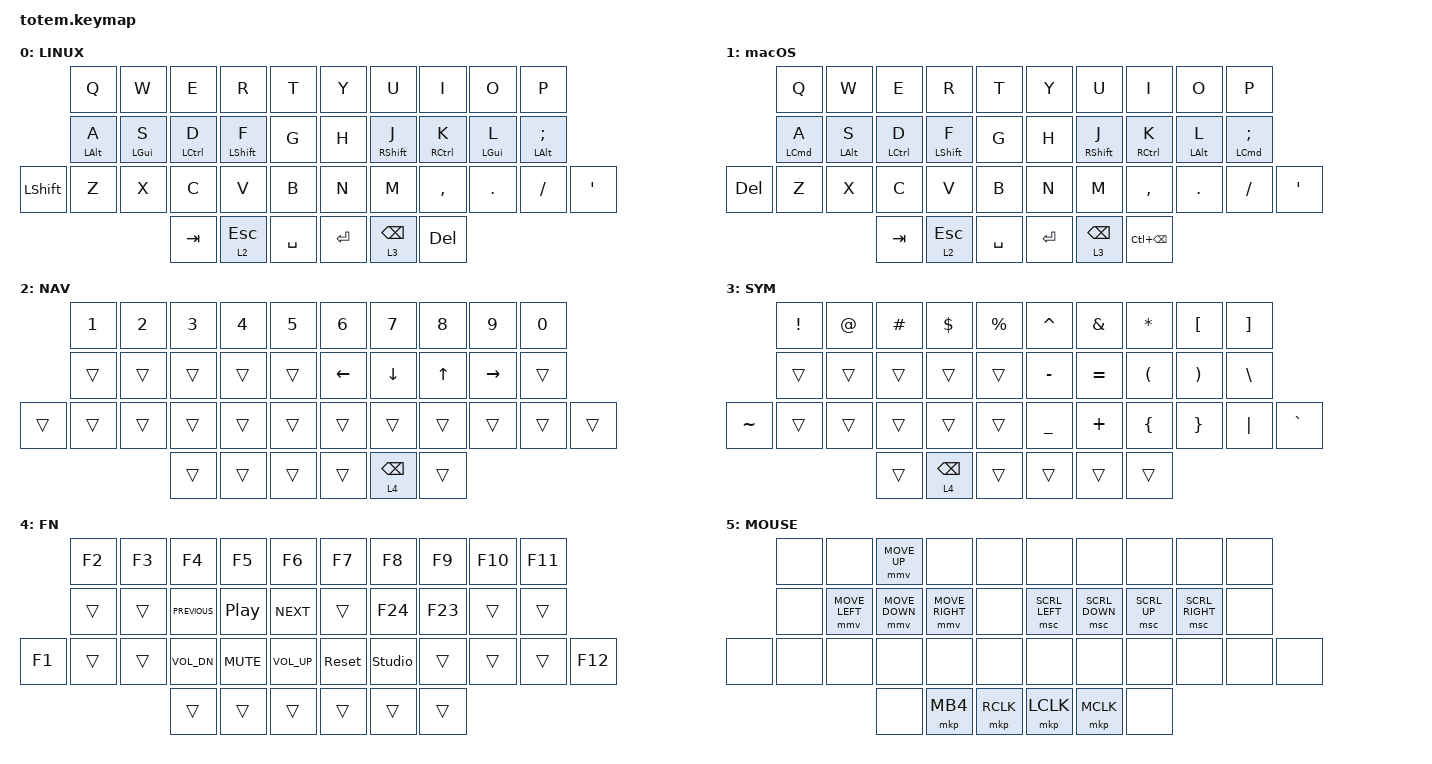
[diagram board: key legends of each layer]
//
//                                                        ▀▀▀▀▀     ▀▀▀▀▀          ▀▀█▀▀
//                                                        ▄▀▀▀▄  ▄  ▄▀▀▀▄  ▄  ▄▀▀▀▄  █  ▄▀▀▀▄
//                                                        █   █  █  █   █  █  █   █  █  █   █
//                                                         ▀▀▀   █   ▀▀▀   █   ▀▀▀   ▀   ▀▀▀
//                                                               █      ▄▄▄█▄▄▄    █   █  
//                                                               ▀      █  █  █     █▄█
//                                                             ▀▀▀▀▀    █  █  █      ▀
//                                                                      ▀  ▀  ▀
//
// ▄▄▄▄▄▄▄▄▄▄▄▄▄▄▄▄▄▄▄▄▄▄▄▄▄▄▄▄▄▄▄▄▄▄▄▄▄▄▄▄▄▄▄▄▄▄▄▄▄▄▄▄▄▄▄▄▄▄▄▄▄▄▄▄▄▄▄▄▄▄▄▄▄▄▄▄▄▄▄▄▄▄▄▄▄▄▄▄▄▄▄▄▄▄▄▄▄▄▄▄▄▄▄▄▄▄▄▄▄▄▄▄▄▄▄▄▄▄▄▄▄▄▄▄▄▄▄▄▄▄▄▄▄▄▄▄▄▄▄▄▄▄▄▄▄▄▄▄▄

#include <behaviors.dtsi>
#include <dt-bindings/zmk/bt.h>
#include <dt-bindings/zmk/keys.h>
#include <dt-bindings/zmk/outputs.h>
#include <dt-bindings/zmk/pointing.h>

#define BASE 0
#define NAV  1
#define SYM  2
#define ADJ  3
#define TVP1 4
#define TVP2 5

&mt {
    quick-tap-ms = <160>;
    global-quick-tap;
    flavor = "balanced";
    tapping-term-ms = <165>;
};

&lt {
    quick-tap-ms = <160>;
    tapping-term-ms = <160>;
    bindings = <&mo>, <&kp>;

    flavor = "hold-preferred";
};

/ {
    combos {
        compatible = "zmk,combos";

        capslock {
            bindings = <&kp CAPSLOCK>;
            key-positions = <34 35>;
            timeout-ms = <110>;
        };

        bt-prev {
            bindings = <&bt BT_PRV>;
            key-positions = <0 1 3 2>;
        };

        bt-next {
            bindings = <&bt BT_NXT>;
            key-positions = <6 7 8 9>;
        };

        blt-clear {
            bindings = <&bt BT_CLR>;
            key-positions = <1 2 3 0 6 7 8 9>;
        };

        out-toggle {
            bindings = <&out OUT_TOG>;
            key-positions = <21 22 23 24 27 28 29 30>;
        };

        linux_toggle {
            bindings = <&to 0>;
            key-positions = <11 12 13 10>;
        };

        macos-toggle {
            bindings = <&to 1>;
            key-positions = <16 17 18 19>;
        };
    };

    macros {
        gif: gif {
            label = "giphy";
            compatible = "zmk,behavior-macro";
            #binding-cells = <0>;
            bindings =
                <&macro_press>,
                <&kp LSHFT>,
                <&macro_tap>,
                <&kp N2>,
                <&macro_release>,
                <&kp LSHFT>,
                <&macro_tap>,
                <&kp G &kp I &kp F>;
        };
    };

    behaviors {
        mt_shift: mt_shift {
            compatible = "zmk,behavior-hold-tap";
            label = "MT_SHIFT";
            bindings = <&kp>, <&kp>;

            #binding-cells = <2>;
            tapping-term-ms = <145>;
            quick-tap-ms = <160>;
            flavor = "tap-preferred";
        };
    };

    keymap {
        compatible = "zmk,keymap";

        // ▄▄▄▄▄▄▄▄▄▄▄▄▄▄▄▄▄▄▄▄▄▄▄▄▄▄▄▄▄▄▄▄▄▄▄▄▄▄▄▄▄▄▄▄▄▄▄▄▄▄▄▄▄▄▄▄▄▄▄▄▄▄▄▄▄▄▄▄▄▄▄▄▄▄▄▄▄▄▄▄▄▄▄▄▄▄▄▄▄▄▄▄▄▄▄▄▄▄▄▄▄▄▄▄▄▄▄▄▄▄▄▄▄▄▄▄▄▄▄▄▄▄▄▄▄▄▄▄▄▄▄▄▄▄▄▄▄▄▄▄▄▄▄▄▄▄▄▄▄

        linux_base_layer {
            // ┏━━━━━━━━━━━━━━━━━━━━━━━━━━━━━━━━━━━━━━━┓

            display-name = "LINUX";
            label = "LBASE";

            // ┗━━━━━━━━━━━━━━━━━━━━━━━━━━━━━━━━━━━━━━━┛
            //             ┏━━━━━━━━━━━┳━━━━━━━━━━━┳━━━━━━━━━━━┳━━━━━━━━━━━┳━━━━━━━━━━━┓   ┏━━━━━━━━━━━┳━━━━━━━━━━━┳━━━━━━━━━━━┳━━━━━━━━━━━┳━━━━━━━━━━━┓
            //             ┃     Q     ┃     W     ┃     F     ┃     P     ┃     G     ┃   ┃     J     ┃     L     ┃     U     ┃     Y     ┃     ;     ┃
            //             ┣━━━━━━━━━━━╋━━━━━━━━━━━╋━━━━━━━━━━━╋━━━━━━━━━━━╋━━━━━━━━━━━┫   ┣━━━━━━━━━━━╋━━━━━━━━━━━╋━━━━━━━━━━━╋━━━━━━━━━━━╋━━━━━━━━━━━┫
            //             ┃     A     ┃     R     ┃     S     ┃     T     ┃     D     ┃   ┃     H     ┃     N     ┃     E     ┃     I     ┃     O     ┃
            // ┏━━━━━━━━━━━╋━━━━━━━━━━━╋━━━━━━━━━━━╋━━━━━━━━━━━╋━━━━━━━━━━━╋━━━━━━━━━━━┫   ┣━━━━━━━━━━━╋━━━━━━━━━━━╋━━━━━━━━━━━╋━━━━━━━━━━━╋━━━━━━━━━━━╋━━━━━━━━━━━┓
            // ┃     Q     ┃     Z     ┃     X     ┃     C     ┃     V     ┃     B     ┃   ┃     K     ┃     M     ┃     ,     ┃     .     ┃     /     ┃     \     ┃
            // ┗━━━━━━━━━━━┻━━━━━━━━━━━┻━━━━━━━━━━━╋━━━━━━━━━━━╋━━━━━━━━━━━╋━━━━━━━━━━━┫   ┣━━━━━━━━━━━╋━━━━━━━━━━━╋━━━━━━━━━━━╋━━━━━━━━━━━┻━━━━━━━━━━━┻━━━━━━━━━━━┛
            //                                     ┃    DEL    ┃    TAB    ┃    SPC    ┃   ┃   ENTER   ┃           ┃   BSPC    ┃
            //                                     ┗━━━━━━━━━━━┻━━━━━━━━━━━┻━━━━━━━━━━━┛   ┗━━━━━━━━━━━┻━━━━━━━━━━━┻━━━━━━━━━━━┛

            bindings = <
                &kp Q           &kp W           &kp E        &kp R              &kp T        &kp Y    &kp U              &kp I        &kp O           &kp P
                &mt LEFT_ALT A  &mt LEFT_GUI S  &mt LCTRL D  &mt_shift LSHFT F  &kp G        &kp H    &mt_shift RSHFT J  &mt RCTRL K  &mt LEFT_GUI L  &mt LEFT_ALT SEMICOLON
&kp LEFT_SHIFT  &kp Z           &kp X           &kp C        &kp V              &kp B        &kp N    &kp M              &kp COMMA    &kp DOT         &kp FSLH                &kp SINGLE_QUOTE
                                                &kp TAB      &lt 2 ESCAPE       &kp SPACE    &kp RET  &lt 3 BACKSPACE    &kp DELETE
            >;
        };

        macos_base_layer {
            display-name = "macOS";
            label = "MBASE";
            bindings = <
            &kp Q       &kp W           &kp E        &kp R              &kp T        &kp Y    &kp U              &kp I              &kp O           &kp P
            &mt LCMD A  &mt LEFT_ALT S  &mt LCTRL D  &mt_shift LSHFT F  &kp G        &kp H    &mt_shift RSHFT J  &mt RCTRL K        &mt LEFT_ALT L  &mt LCMD SEMICOLON
&kp DELETE  &kp Z       &kp X           &kp C        &kp V              &kp B        &kp N    &kp M              &kp COMMA          &kp DOT         &kp FSLH            &kp SINGLE_QUOTE
                                        &kp TAB      &lt 2 ESCAPE       &kp SPACE    &kp RET  &lt 3 BACKSPACE    &kp LC(BACKSPACE)
            >;
        };

        nav_layer {
            // ┏━━━━━━━━━━━━━━━━━━━━━━━━━━━━━━━━━━━━━━━┓

            display-name = "NAV";
            label = "NAV";

            // ┗━━━━━━━━━━━━━━━━━━━━━━━━━━━━━━━━━━━━━━━┛
            //             ┏━━━━━━━━━━━┳━━━━━━━━━━━┳━━━━━━━━━━━┳━━━━━━━━━━━┳━━━━━━━━━━━┓   ┏━━━━━━━━━━━┳━━━━━━━━━━━┳━━━━━━━━━━━┳━━━━━━━━━━━┳━━━━━━━━━━━┓
            //             ┃           ┃           ┃     UP    ┃           ┃     {     ┃   ┃     }     ┃     7     ┃     8     ┃     9     ┃     +     ┃
            //             ┣━━━━━━━━━━━╋━━━━━━━━━━━╋━━━━━━━━━━━╋━━━━━━━━━━━╋━━━━━━━━━━━┫   ┣━━━━━━━━━━━╋━━━━━━━━━━━╋━━━━━━━━━━━╋━━━━━━━━━━━╋━━━━━━━━━━━┫
            //             ┃   SHIFT   ┃   LEFT    ┃    DOWN   ┃   RIGHT   ┃     [     ┃   ┃     ]     ┃     4     ┃     5     ┃     6     ┃     -     ┃
            // ┏━━━━━━━━━━━╋━━━━━━━━━━━╋━━━━━━━━━━━╋━━━━━━━━━━━╋━━━━━━━━━━━╋━━━━━━━━━━━┫   ┣━━━━━━━━━━━╋━━━━━━━━━━━╋━━━━━━━━━━━╋━━━━━━━━━━━╋━━━━━━━━━━━╋━━━━━━━━━━━┓
            // ┃           ┃           ┃   P UP    ┃  C LOCK   ┃  P DOWN   ┃     (     ┃   ┃     )     ┃     1     ┃     2     ┃     3     ┃     *     ┃           ┃
            // ┗━━━━━━━━━━━┻━━━━━━━━━━━┻━━━━━━━━━━━╋━━━━━━━━━━━╋━━━━━━━━━━━╋━━━━━━━━━━━┫   ┣━━━━━━━━━━━╋━━━━━━━━━━━╋━━━━━━━━━━━╋━━━━━━━━━━━┻━━━━━━━━━━━┻━━━━━━━━━━━┛
            //                                     ┃           ┃    TAB    ┃    SPC    ┃   ┃    DEL    ┃     0     ┃           ┃
            //                                     ┗━━━━━━━━━━━┻━━━━━━━━━━━┻━━━━━━━━━━━┛   ┗━━━━━━━━━━━┻━━━━━━━━━━━┻━━━━━━━━━━━┛

            bindings = <
        &kp NUMBER_1  &kp NUMBER_2  &kp NUMBER_3  &kp NUMBER_4  &kp N5    &kp NUMBER_6    &kp N7           &kp N8        &kp N9     &kp N0
        &trans        &trans        &trans        &trans        &trans    &kp LEFT_ARROW  &kp DOWN_ARROW   &kp UP_ARROW  &kp RIGHT  &trans
&trans  &trans        &trans        &trans        &trans        &trans    &trans          &trans           &trans        &trans     &trans  &trans
                                    &trans        &trans        &trans    &trans          &lt 4 BACKSPACE  &trans
            >;
        };

        sim_layer {
            // ┏━━━━━━━━━━━━━━━━━━━━━━━━━━━━━━━━━━━━━━━┓

            display-name = "SYM";
            label = "SYM";

            // ┗━━━━━━━━━━━━━━━━━━━━━━━━━━━━━━━━━━━━━━━┛
            //             ┏━━━━━━━━━━━┳━━━━━━━━━━━┳━━━━━━━━━━━┳━━━━━━━━━━━┳━━━━━━━━━━━┓   ┏━━━━━━━━━━━┳━━━━━━━━━━━┳━━━━━━━━━━━┳━━━━━━━━━━━┳━━━━━━━━━━━┓
            //             ┃     !     ┃     @     ┃     #     ┃     $     ┃     %     ┃   ┃     ˆ     ┃     &     ┃     Ü     ┃     '     ┃     "     ┃
            //             ┣━━━━━━━━━━━╋━━━━━━━━━━━╋━━━━━━━━━━━╋━━━━━━━━━━━╋━━━━━━━━━━━┫   ┣━━━━━━━━━━━╋━━━━━━━━━━━╋━━━━━━━━━━━╋━━━━━━━━━━━╋━━━━━━━━━━━┫
            //             ┃     Ä     ┃           ┃    SZ     ┃           ┃           ┃   ┃   MUTE    ┃   YEN     ┃   EURO    ┃  POUND    ┃     Ö     ┃
            // ┏━━━━━━━━━━━╋━━━━━━━━━━━╋━━━━━━━━━━━╋━━━━━━━━━━━╋━━━━━━━━━━━╋━━━━━━━━━━━┫   ┣━━━━━━━━━━━╋━━━━━━━━━━━╋━━━━━━━━━━━╋━━━━━━━━━━━╋━━━━━━━━━━━╋━━━━━━━━━━━┓
            // ┃           ┃  EMAIL1   ┃  EMAIL2   ┃           ┃           ┃           ┃   ┃   VOL-    ┃   VOL+    ┃   LAST    ┃   NEXT    ┃     \     ┃           ┃
            // ┗━━━━━━━━━━━┻━━━━━━━━━━━┻━━━━━━━━━━━╋━━━━━━━━━━━╋━━━━━━━━━━━╋━━━━━━━━━━━┫   ┣━━━━━━━━━━━╋━━━━━━━━━━━╋━━━━━━━━━━━╋━━━━━━━━━━━┻━━━━━━━━━━━┻━━━━━━━━━━━┛
            //                                     ┃           ┃    GIF    ┃    ADJ    ┃   ┃           ┃           ┃           ┃
            //                                     ┗━━━━━━━━━━━┻━━━━━━━━━━━┻━━━━━━━━━━━┛   ┗━━━━━━━━━━━┻━━━━━━━━━━━┻━━━━━━━━━━━┛

            bindings = <
           &kp EXCL  &kp AT  &kp HASH  &kp DLLR         &kp PRCNT    &kp CARET  &kp AMPS   &kp STAR              &kp LEFT_BRACKET       &kp RIGHT_BRACKET
           &trans    &trans  &trans    &trans           &trans       &kp MINUS  &kp EQUAL  &kp LEFT_PARENTHESIS  &kp RIGHT_PARENTHESIS  &kp BACKSLASH
&kp TILDE  &trans    &trans  &trans    &trans           &trans       &kp UNDER  &kp PLUS   &kp LEFT_BRACE        &kp RIGHT_BRACE        &kp PIPE           &kp GRAVE
                             &trans    &lt 4 BACKSPACE  &trans       &trans     &trans     &trans
            >;
        };

        fn_layer {
            // ┏━━━━━━━━━━━━━━━━━━━━━━━━━━━━━━━━━━━━━━━┓

            display-name = "FN";
            label = "FN";

            // ┗━━━━━━━━━━━━━━━━━━━━━━━━━━━━━━━━━━━━━━━┛
            //             ┏━━━━━━━━━━━┳━━━━━━━━━━━┳━━━━━━━━━━━┳━━━━━━━━━━━┳━━━━━━━━━━━┓   ┏━━━━━━━━━━━┳━━━━━━━━━━━┳━━━━━━━━━━━┳━━━━━━━━━━━┳━━━━━━━━━━━┓
            //             ┃   RESET   ┃ BT CLEAR  ┃  OUT TOG  ┃           ┃           ┃   ┃           ┃    F7     ┃    F8     ┃    F9     ┃    F12    ┃
            //             ┣━━━━━━━━━━━╋━━━━━━━━━━━╋━━━━━━━━━━━╋━━━━━━━━━━━╋━━━━━━━━━━━┫   ┣━━━━━━━━━━━╋━━━━━━━━━━━╋━━━━━━━━━━━╋━━━━━━━━━━━╋━━━━━━━━━━━┫
            //             ┃ BOOTLOAD  ┃ BT NEXT   ┃           ┃           ┃           ┃   ┃           ┃    F4     ┃    F5     ┃    F6     ┃    F11    ┃
            // ┏━━━━━━━━━━━╋━━━━━━━━━━━╋━━━━━━━━━━━╋━━━━━━━━━━━╋━━━━━━━━━━━╋━━━━━━━━━━━┫   ┣━━━━━━━━━━━╋━━━━━━━━━━━╋━━━━━━━━━━━╋━━━━━━━━━━━╋━━━━━━━━━━━╋━━━━━━━━━━━┓
            // ┃           ┃           ┃ BT PREV   ┃           ┃           ┃           ┃   ┃           ┃    F1     ┃    F2     ┃    F3     ┃    F10    ┃           ┃
            // ┗━━━━━━━━━━━┻━━━━━━━━━━━┻━━━━━━━━━━━╋━━━━━━━━━━━╋━━━━━━━━━━━╋━━━━━━━━━━━┫   ┣━━━━━━━━━━━╋━━━━━━━━━━━╋━━━━━━━━━━━╋━━━━━━━━━━━┻━━━━━━━━━━━┻━━━━━━━━━━━┛
            //                                     ┃           ┃           ┃           ┃   ┃           ┃           ┃           ┃
            //                                     ┗━━━━━━━━━━━┻━━━━━━━━━━━┻━━━━━━━━━━━┛   ┗━━━━━━━━━━━┻━━━━━━━━━━━┻━━━━━━━━━━━┛

            bindings = <
        &kp F2  &kp F3  &kp F4          &kp F5            &kp F6             &kp F7      &kp F8          &kp F9   &kp F10  &kp F11
        &trans  &trans  &kp C_PREVIOUS  &kp C_PLAY_PAUSE  &kp C_NEXT         &trans      &kp F24         &kp F23  &trans   &trans
&kp F1  &trans  &trans  &kp C_VOL_DN    &kp K_MUTE        &kp C_VOLUME_UP    &sys_reset  &studio_unlock  &trans   &trans   &trans   &kp F12
                        &trans          &trans            &trans             &trans      &trans          &trans
            >;
        };

        mouse_layer {
            // ┏━━━━━━━━━━━━━━━━━━━━━━━━━━━━━━━━━━━━━━━┓

            display-name = "MOUSE";
            label = "MOU";

            // ┗━━━━━━━━━━━━━━━━━━━━━━━━━━━━━━━━━━━━━━━┛
            //             ┏━━━━━━━━━━━┳━━━━━━━━━━━┳━━━━━━━━━━━┳━━━━━━━━━━━┳━━━━━━━━━━━┓   ┏━━━━━━━━━━━┳━━━━━━━━━━━┳━━━━━━━━━━━┳━━━━━━━━━━━┳━━━━━━━━━━━┓
            //             ┃ NEXT FILE ┃ MARK IN   ┃ ROTATE    ┃ MARK OUT  ┃ SHOW SNAP ┃   ┃           ┃           ┃           ┃           ┃           ┃
            //             ┣━━━━━━━━━━━╋━━━━━━━━━━━╋━━━━━━━━━━━╋━━━━━━━━━━━╋━━━━━━━━━━━┫   ┣━━━━━━━━━━━╋━━━━━━━━━━━╋━━━━━━━━━━━╋━━━━━━━━━━━╋━━━━━━━━━━━┫
            //             ┃ TVP II    ┃ LEFT      ┃ PAN       ┃ RIGHT     ┃ PLAY/FLIP ┃   ┃           ┃           ┃           ┃           ┃           ┃
            // ┏━━━━━━━━━━━╋━━━━━━━━━━━╋━━━━━━━━━━━╋━━━━━━━━━━━╋━━━━━━━━━━━╋━━━━━━━━━━━┫   ┣━━━━━━━━━━━╋━━━━━━━━━━━╋━━━━━━━━━━━╋━━━━━━━━━━━╋━━━━━━━━━━━╋━━━━━━━━━━━┓
            // ┃ FULLSCR   ┃ SHIFT     ┃ COPY      ┃ DELETE    ┃ PASTE     ┃ IMG MARK  ┃   ┃           ┃           ┃           ┃           ┃           ┃           ┃
            // ┗━━━━━━━━━━━┻━━━━━━━━━━━┻━━━━━━━━━━━╋━━━━━━━━━━━╋━━━━━━━━━━━╋━━━━━━━━━━━┫   ┣━━━━━━━━━━━╋━━━━━━━━━━━╋━━━━━━━━━━━╋━━━━━━━━━━━┻━━━━━━━━━━━┻━━━━━━━━━━━┛
            //                                     ┃           ┃ UNDO/SAVE ┃  SEL/MOV  ┃   ┃           ┃           ┃           ┃
            //                                     ┗━━━━━━━━━━━┻━━━━━━━━━━━┻━━━━━━━━━━━┛   ┗━━━━━━━━━━━┻━━━━━━━━━━━┻━━━━━━━━━━━┛

            bindings = <
       &none  &none           &mmv MOVE_UP    &none            &none        &none           &none           &none         &none            &none
       &none  &mmv MOVE_LEFT  &mmv MOVE_DOWN  &mmv MOVE_RIGHT  &none        &msc SCRL_LEFT  &msc SCRL_DOWN  &msc SCRL_UP  &msc SCRL_RIGHT  &none
&none  &none  &none           &none           &none            &none        &none           &none           &none         &none            &none  &none
                              &none           &mkp MB4         &mkp RCLK    &mkp LCLK       &mkp MCLK       &none
            >;
        };

        // ▄▄▄▄▄▄▄▄▄▄▄▄▄▄▄▄▄▄▄▄▄▄▄▄▄▄▄▄▄▄▄▄▄▄▄▄▄▄▄▄▄▄▄▄▄▄▄▄▄▄▄▄▄▄▄▄▄▄▄▄▄▄▄▄▄▄▄▄▄▄▄▄▄▄▄▄▄▄▄▄▄▄▄▄▄▄▄▄▄▄▄▄▄▄▄▄▄▄▄▄▄▄▄▄▄▄▄▄▄▄▄▄▄▄▄▄▄▄▄▄▄▄▄▄▄▄▄▄▄▄▄▄▄▄▄▄▄▄▄▄▄▄▄▄▄▄▄▄▄
    };
};
